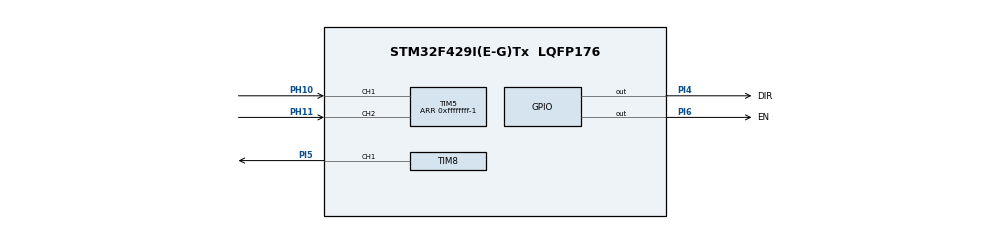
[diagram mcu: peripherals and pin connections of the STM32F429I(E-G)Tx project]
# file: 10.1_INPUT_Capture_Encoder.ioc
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Mcu.Family=STM32F4
Mcu.Name=STM32F429I(E-G)Tx
Mcu.Package=LQFP176
NVIC.PriorityGroup=NVIC_PRIORITYGROUP_4
NVIC.TIM6_DAC_IRQn=true\:0\:0\:false\:false\:true\:true\:true
NVIC.TIM8_CC_IRQn=true\:0\:0\:false\:false\:true\:true\:true
PA13.Mode=Trace_Asynchronous_SW
PA13.Signal=SYS_JTMS-SWDIO
PA14.Mode=Trace_Asynchronous_SW
PA14.Signal=SYS_JTCK-SWCLK
PB3.Mode=Trace_Asynchronous_SW
PB3.Signal=SYS_JTDO-SWO
PC14/OSC32_IN.Mode=LSE-External-Oscillator
PC14/OSC32_IN.Signal=RCC_OSC32_IN
PC15/OSC32_OUT.Mode=LSE-External-Oscillator
PC15/OSC32_OUT.Signal=RCC_OSC32_OUT
PH0/OSC_IN.Mode=HSE-External-Oscillator
PH0/OSC_IN.Signal=RCC_OSC_IN
PH1/OSC_OUT.Mode=HSE-External-Oscillator
PH1/OSC_OUT.Signal=RCC_OSC_OUT
PH10.GPIO_PuPd=GPIO_PULLUP
PH10.Signal=S_TIM5_CH1
PH11.GPIO_PuPd=GPIO_PULLUP
PH11.Signal=S_TIM5_CH2
PI4.GPIO_Label=DIR
PI4.GPIO_Speed=GPIO_SPEED_FREQ_LOW
PI4.Signal=GPIO_Output
PI5.Signal=S_TIM8_CH1
PI6.GPIO_Label=EN
PI6.GPIO_PuPd=GPIO_PULLUP
PI6.GPIO_Speed=GPIO_SPEED_FREQ_LOW
PI6.Signal=GPIO_Output
ProjectManager.HeapSize=0x200
ProjectManager.StackSize=0x400
ProjectManager.TargetToolchain=STM32CubeIDE
RCC.48MHZClocksFreq_Value=90000000
RCC.AHBFreq_Value=180000000
RCC.APB1CLKDivider=RCC_HCLK_DIV4
RCC.APB1Freq_Value=45000000
RCC.APB1TimFreq_Value=90000000
RCC.APB2CLKDivider=RCC_HCLK_DIV2
RCC.APB2Freq_Value=90000000
RCC.APB2TimFreq_Value=180000000
RCC.CortexFreq_Value=180000000
RCC.HCLKFreq_Value=180000000
RCC.HSE_VALUE=25000000
RCC.HSI_VALUE=16000000
RCC.PLLM=15
RCC.PLLN=216
RCC.PLLSourceVirtual=RCC_PLLSOURCE_HSE
RCC.SYSCLKFreq_VALUE=180000000
RCC.SYSCLKSource=RCC_SYSCLKSOURCE_PLLCLK
RCC.VCOOutputFreq_Value=360000000
SH.S_TIM5_CH1.0=TIM5_CH1,Encoder_Interface
SH.S_TIM5_CH2.0=TIM5_CH2,Encoder_Interface
SH.S_TIM8_CH1.0=TIM8_CH1,PWM Generation1 CH1
TIM5.Period=0xffffffff-1
TIM6.Period=1000-1
TIM6.Prescaler=180-1
TIM8.AutoReloadPreload=TIM_AUTORELOAD_PRELOAD_DISABLE
TIM8.Channel-PWM\ Generation1\ CH1=TIM_CHANNEL_1
TIM8.Period=2000 - 1
TIM8.Prescaler=90-1
VP_TIM6_VS_ClockSourceINT.Mode=Enable_Timer
board=custom

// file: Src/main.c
/* USER CODE BEGIN Header */
/**
 ******************************************************************************
 * @file           : main.c
 * @brief          : Main program body
 ******************************************************************************
 * @attention
 *
 * <h2><center>&copy; Copyright (c) 2019 STMicroelectronics.
 * All rights reserved.</center></h2>
 *
 * This software component is licensed by ST under BSD 3-Clause license,
 * the "License"; You may not use this file except in compliance with the
 * License. You may obtain a copy of the License at:
 *                        opensource.org/licenses/BSD-3-Clause
 *
 ******************************************************************************
 */
/* USER CODE END Header */

#include "main.h"
#include "tim.h"
#include "gpio.h"

/* USER CODE BEGIN Includes */
#include <stdio.h>
/* USER CODE END Includes */

/* USER CODE BEGIN PV */
uint32_t data[19] =
  { 0 };
uint32_t data1 = 0;
uint32_t data2 = 0;
volatile uint32_t timer = 0;
volatile uint32_t distance = 0;
volatile uint32_t distance_last = 0;
volatile uint32_t paulse = 0;
volatile int32_t paulse_setting = 0;
uint8_t stepper_state = 0;
/* USER CODE END PV */

void SystemClock_Config (void);

/* USER CODE BEGIN 0 */
void HAL_TIM_PWM_PulseFinishedCallback (TIM_HandleTypeDef*htim)
{
  if (paulse++ == paulse_setting)
  {
    HAL_TIM_PWM_Stop_IT (&htim8, TIM_CHANNEL_1);
    HAL_GPIO_WritePin (EN_GPIO_Port, EN_Pin, 1);
    stepper_state = 0;
    paulse = 0;
  }
}

void HAL_TIM_PeriodElapsedCallback (TIM_HandleTypeDef*htim)
{
  timer++;
  distance = TIM5->CNT - distance_last;
  distance_last = TIM5->CNT;
}

/* USER CODE END 0 */

int main (void)
{

  /* MCU Configuration--------------------------------------------------------*/

  /* Reset of all peripherals, Initializes the Flash interface and the Systick. */
  HAL_Init ();

  /* Configure the system clock */
  SystemClock_Config ();

  /* Initialize all configured peripherals */
  MX_GPIO_Init ();
  MX_TIM5_Init ();
  MX_TIM8_Init ();
  MX_TIM6_Init ();
  /* USER CODE BEGIN 2 */
  printf ("Start\r\n");

  HAL_TIM_Encoder_Start_IT (&htim5, TIM_CHANNEL_ALL);

  HAL_TIM_Base_Start_IT (&htim6);

  HAL_GPIO_WritePin (DIR_GPIO_Port, DIR_Pin, 1);
  HAL_GPIO_WritePin (EN_GPIO_Port, EN_Pin, 0);

  __HAL_TIM_SET_AUTORELOAD(&htim8, 2000);
  __HAL_TIM_SET_COMPARE(&htim8, TIM_CHANNEL_1, 1000);

  int i = 0;

  step_set_dir (1);
  step_set_steps (-1);
  step_start ();
  /* USER CODE END 2 */

  /* Infinite loop */
  /* USER CODE BEGIN WHILE */
  while (1)
  {
    for (i = 500; i > 160; i -= 1)
    {
      step_set_speed (i);
      HAL_Delay (10);
    }

    HAL_Delay (1000);
    for (i = 160; i < 500; i += 1)
    {
      step_set_speed (i);
      HAL_Delay (10);
    }
    HAL_Delay (1000);
    /* USER CODE END WHILE */

  }
}

void SystemClock_Config (void)
{
  RCC_OscInitTypeDef RCC_OscInitStruct =
    { 0 };
  RCC_ClkInitTypeDef RCC_ClkInitStruct =
    { 0 };

  /** Configure the main internal regulator output voltage
   */
  __HAL_RCC_PWR_CLK_ENABLE();
  __HAL_PWR_VOLTAGESCALING_CONFIG(PWR_REGULATOR_VOLTAGE_SCALE1);
  /** Initializes the CPU, AHB and APB busses clocks
   */
  RCC_OscInitStruct.OscillatorType = RCC_OSCILLATORTYPE_HSE;
  RCC_OscInitStruct.HSEState = RCC_HSE_ON;
  RCC_OscInitStruct.PLL.PLLState = RCC_PLL_ON;
  RCC_OscInitStruct.PLL.PLLSource = RCC_PLLSOURCE_HSE;
  RCC_OscInitStruct.PLL.PLLM = 15;
  RCC_OscInitStruct.PLL.PLLN = 216;
  RCC_OscInitStruct.PLL.PLLP = RCC_PLLP_DIV2;
  RCC_OscInitStruct.PLL.PLLQ = 4;
  if (HAL_RCC_OscConfig (&RCC_OscInitStruct) != HAL_OK)
  {
    Error_Handler ();
  }
  /** Activate the Over-Drive mode
   */
  if (HAL_PWREx_EnableOverDrive () != HAL_OK)
  {
    Error_Handler ();
  }
  /** Initializes the CPU, AHB and APB busses clocks
   */
  RCC_ClkInitStruct.ClockType = RCC_CLOCKTYPE_HCLK | RCC_CLOCKTYPE_SYSCLK
      | RCC_CLOCKTYPE_PCLK1 | RCC_CLOCKTYPE_PCLK2;
  RCC_ClkInitStruct.SYSCLKSource = RCC_SYSCLKSOURCE_PLLCLK;
  RCC_ClkInitStruct.AHBCLKDivider = RCC_SYSCLK_DIV1;
  RCC_ClkInitStruct.APB1CLKDivider = RCC_HCLK_DIV4;
  RCC_ClkInitStruct.APB2CLKDivider = RCC_HCLK_DIV2;

  if (HAL_RCC_ClockConfig (&RCC_ClkInitStruct, FLASH_LATENCY_5) != HAL_OK)
  {
    Error_Handler ();
  }
}

/* USER CODE BEGIN 4 */

int _write (int file,char*ptr,int len)
{
  int DataIdx;
  for (DataIdx = 0; DataIdx < len; DataIdx++)
  {
    ITM_SendChar (*ptr++);
  }
  return len;
}

uint32_t get_encoder_value ()
{
  return TIM5->CNT;
}
uint8_t get_encoder_dir ()
{
  return TIM5->CR1 >> 4;
}

void step_run (uint8_t dir,uint16_t speed,uint32_t steps)
{
  paulse_setting = steps;
  stepper_state = 1;

  __HAL_TIM_SET_AUTORELOAD(&htim8, speed);
  __HAL_TIM_SET_COMPARE(&htim8, TIM_CHANNEL_1, speed / 2);

  HAL_GPIO_WritePin (DIR_GPIO_Port, DIR_Pin, dir);
  HAL_GPIO_WritePin (EN_GPIO_Port, EN_Pin, 0);
  HAL_TIM_PWM_Start_IT (&htim8, TIM_CHANNEL_1);
}

void step_set_dir (uint16_t dir)
{
  HAL_GPIO_WritePin (DIR_GPIO_Port, DIR_Pin, dir);
}

void step_set_speed (uint16_t speed)
{
  __HAL_TIM_SET_AUTORELOAD(&htim8, speed);
  __HAL_TIM_SET_COMPARE(&htim8, TIM_CHANNEL_1, speed / 2);
}

void step_set_steps (uint32_t steps)
{
  paulse_setting = steps;
}

void step_start ()
{
  HAL_TIM_PWM_Start_IT (&htim8, TIM_CHANNEL_1);
}

/* USER CODE END 4 */

void Error_Handler (void)
{
}

/************************ (C) COPYRIGHT STMicroelectronics *****END OF FILE****/
